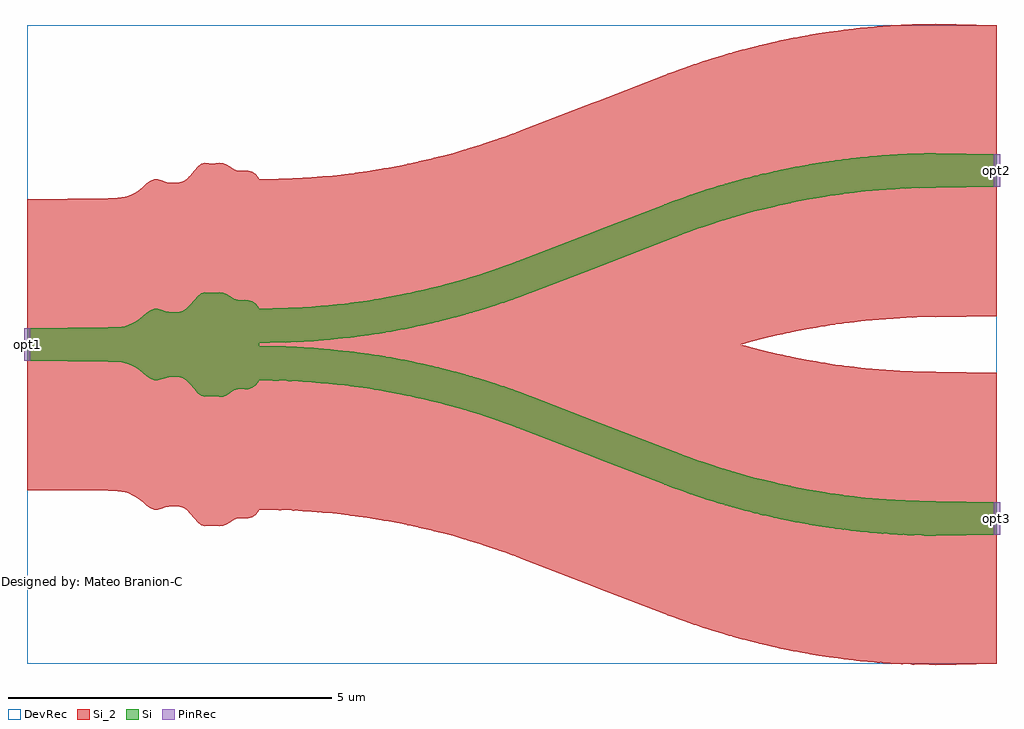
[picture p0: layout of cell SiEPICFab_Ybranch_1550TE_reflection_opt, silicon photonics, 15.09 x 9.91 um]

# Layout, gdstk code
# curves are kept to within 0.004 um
import gdstk
lib = gdstk.Library(unit=1e-6, precision=1e-09)
def R(c, l, rs):  # rectangles x0, y0, x1, y1
    for r in rs: c.add(gdstk.rectangle(r[:2], r[2:], *l))
def P(c, l, *ps):  # polygons
    for p in ps: c.add(gdstk.Polygon(p, *l))
Si = (1, 0)
Si_2 = (1, 2)
PinRec = (1, 10)
DevRec = (68, 0)

siepicfab_ybranch_1550te = lib.new_cell('SiEPICFab_Ybranch_1550TE_reflection_opt')
P(siepicfab_ybranch_1550te, Si, [(12.695,-2.955),(12.302,-2.947),(11.896,-2.925),(11.529,-2.893),(11.138,-2.846),(10.742,-2.785),(10.381,-2.717),(10.043,-2.643),(9.716,-2.561),(9.249,-2.426),(8.722,-2.249),(6.286,-1.31),(5.863,-1.156),(5.47,-1.03),(5.11,-0.928),(4.701,-0.829),(4.362,-0.758),(3.901,-0.679),(3.367,-0.612),(2.778,-0.568),(2.235,-0.555),(2.179,-0.632),(2.123,-0.672),(2.067,-0.688),(1.898,-0.689),(1.842,-0.709),(1.73,-0.781),(1.674,-0.804),(1.618,-0.807),(1.506,-0.798),(1.394,-0.807),(1.338,-0.794),(1.282,-0.75),(1.17,-0.613),(1.114,-0.558),(1.058,-0.524),(1.002,-0.506),(0.89,-0.498),(0.778,-0.518),(0.665,-0.552),(0.609,-0.553),(0.553,-0.531),(0.385,-0.396),(0.329,-0.358),(0.217,-0.303),(0.105,-0.273),(0.049,-0.266),(-1.353,-0.25),(-1.353,0.25),(0.049,0.266),(0.105,0.274),(0.217,0.303),(0.273,0.327),(0.385,0.396),(0.553,0.531),(0.609,0.553),(0.665,0.552),(0.778,0.518),(0.89,0.499),(1.002,0.506),(1.058,0.524),(1.114,0.558),(1.17,0.613),(1.282,0.75),(1.338,0.794),(1.394,0.807),(1.506,0.798),(1.618,0.807),(1.674,0.804),(1.73,0.781),(1.842,0.709),(1.898,0.689),(2.067,0.688),(2.123,0.672),(2.179,0.632),(2.235,0.556),(2.662,0.564),(3.13,0.591),(3.644,0.644),(4.194,0.728),(4.656,0.82),(5.041,0.911),(5.352,0.996),(5.719,1.109),(6.142,1.256),(8.722,2.25),(8.995,2.345),(9.334,2.453),(9.675,2.551),(10.043,2.644),(10.491,2.74),(10.887,2.81),(11.349,2.874),(11.791,2.918),(12.183,2.943),(12.578,2.955),(13.637,2.94),(13.637,2.44),(12.367,2.418),(11.812,2.386),(11.433,2.348),(11.053,2.297),(10.78,2.252),(10.405,2.179),(10.04,2.095),(9.753,2.021),(9.422,1.924),(9.111,1.823),(8.688,1.669),(6.274,0.738),(5.846,0.591),(5.258,0.418),(4.893,0.327),(4.483,0.24),(4.087,0.17),(3.715,0.117),(3.332,0.075),(2.989,0.048),(2.614,0.03),(2.235,0.024),(2.235,-0.023),(2.672,-0.031),(3.078,-0.053),(3.529,-0.094),(3.928,-0.145),(4.232,-0.193),(4.593,-0.261),(4.931,-0.335),(5.299,-0.428),(5.82,-0.582),(6.274,-0.737),(8.64,-1.65),(9.111,-1.822),(9.422,-1.923),(9.753,-2.02),(10.04,-2.094),(10.405,-2.178),(10.78,-2.251),(11.138,-2.309),(11.433,-2.347),(11.812,-2.385),(12.388,-2.418),(13.637,-2.439),(13.637,-2.939)])
P(siepicfab_ybranch_1550te, Si_2, [(12.695,-4.955),(12.302,-4.947),(11.896,-4.925),(11.529,-4.893),(11.138,-4.846),(10.742,-4.785),(10.381,-4.717),(10.043,-4.643),(9.716,-4.561),(9.249,-4.426),(8.722,-4.249),(6.286,-3.31),(5.863,-3.156),(5.47,-3.03),(5.11,-2.928),(4.701,-2.829),(4.362,-2.758),(3.901,-2.679),(3.367,-2.612),(2.778,-2.568),(2.235,-2.555),(2.179,-2.632),(2.123,-2.672),(2.067,-2.688),(1.898,-2.689),(1.842,-2.709),(1.73,-2.781),(1.674,-2.804),(1.618,-2.807),(1.506,-2.798),(1.394,-2.807),(1.338,-2.794),(1.282,-2.75),(1.17,-2.613),(1.114,-2.558),(1.058,-2.524),(1.002,-2.506),(0.89,-2.498),(0.778,-2.518),(0.665,-2.552),(0.609,-2.553),(0.553,-2.531),(0.385,-2.396),(0.329,-2.358),(0.217,-2.303),(0.105,-2.273),(0.049,-2.266),(-1.353,-2.25),(-1.353,2.25),(0.049,2.266),(0.105,2.274),(0.217,2.303),(0.273,2.327),(0.385,2.396),(0.553,2.531),(0.609,2.553),(0.665,2.552),(0.778,2.518),(0.89,2.499),(1.002,2.506),(1.058,2.524),(1.114,2.558),(1.17,2.613),(1.282,2.75),(1.338,2.794),(1.394,2.807),(1.506,2.798),(1.618,2.807),(1.674,2.804),(1.73,2.781),(1.842,2.709),(1.898,2.689),(2.067,2.688),(2.123,2.672),(2.179,2.632),(2.235,2.556),(2.662,2.564),(3.13,2.591),(3.644,2.644),(4.194,2.728),(4.656,2.82),(5.041,2.911),(5.352,2.996),(5.719,3.109),(6.142,3.256),(8.722,4.25),(8.995,4.345),(9.334,4.453),(9.675,4.551),(10.043,4.644),(10.491,4.74),(10.887,4.81),(11.349,4.874),(11.791,4.918),(12.183,4.943),(12.578,4.955),(13.637,4.94),(13.637,0.44),(12.311,0.416),(11.915,0.394),(11.531,0.359),(11.053,0.297),(10.612,0.221),(10.203,0.134),(9.679,0),(10.203,-0.133),(10.612,-0.22),(11.138,-0.309),(11.531,-0.358),(11.915,-0.393),(12.388,-0.418),(13.637,-0.439),(13.637,-4.939)])
R(siepicfab_ybranch_1550te, DevRec, [(-1.353,-4.939,13.637,4.94)])
siepicfab_ybranch_1550te.add(gdstk.FlexPath([(-1.303,0),(-1.403,0)], 0.5, ends="flush", simple_path=True, layer=1, datatype=10))  # PinRec
siepicfab_ybranch_1550te.add(gdstk.FlexPath([(13.587,2.69),(13.687,2.69)], 0.5, ends="flush", simple_path=True, layer=1, datatype=10))  # PinRec
siepicfab_ybranch_1550te.add(gdstk.FlexPath([(13.587,-2.689),(13.687,-2.689)], 0.5, ends="flush", simple_path=True, layer=1, datatype=10))  # PinRec
siepicfab_ybranch_1550te.add(gdstk.Label('opt1', (-1.353,0), layer=1, texttype=10))
siepicfab_ybranch_1550te.add(gdstk.Label('opt2', (13.637,2.69), layer=1, texttype=10))
siepicfab_ybranch_1550te.add(gdstk.Label('opt3', (13.637,-2.689), layer=1, texttype=10))
siepicfab_ybranch_1550te.add(gdstk.Label('Designed by: Mateo Branion-Calles', (-0.48,-3.66), layer=10, texttype=0))

lib.write_gds('SiEPICFab_Ybranch_1550TE_reflection_opt.gds')
